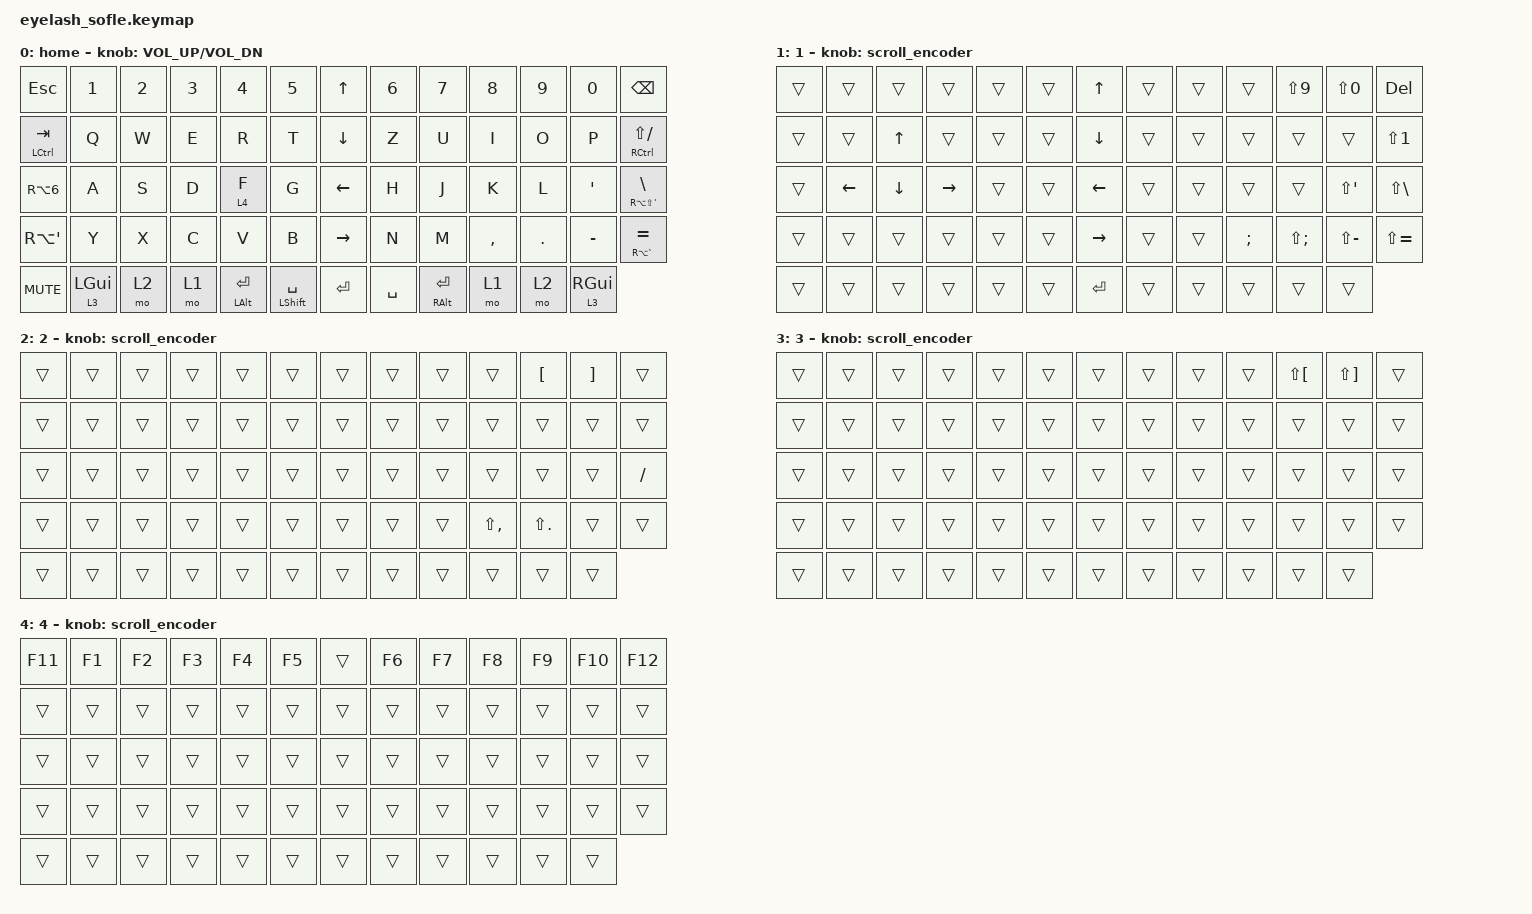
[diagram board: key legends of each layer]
#define ZMK_POINTING_DEFAULT_MOVE_VAL 1200  // 600
#define ZMK_POINTING_DEFAULT_SCRL_VAL 25   // 10

#include <input/processors.dtsi>
#include <zephyr/dt-bindings/input/input-event-codes.h>
#include <behaviors.dtsi>
#include <dt-bindings/zmk/bt.h>
#include <dt-bindings/zmk/keys.h>
#include <dt-bindings/zmk/outputs.h>
#include <dt-bindings/zmk/pointing.h>
#include <dt-bindings/zmk/rgb.h>

&mmv_input_listener { input-processors = <&zip_xy_scaler 2 1>; };

&msc_input_listener { input-processors = <&zip_scroll_scaler 2 1>; };

&msc {
    acceleration-exponent = <1>;      // 0
    time-to-max-speed-ms = <100>;       // 300
    delay-ms = <0>;                   // 0
};

&mmv {
    time-to-max-speed-ms = <500>;
    acceleration-exponent = <1>;
    trigger-period-ms = <16>;
};

&soft_off { hold-time-ms = <2000>; };

/ {
    scroll_encoder: scroll_encoder {
        compatible = "zmk,behavior-sensor-rotate";
        #sensor-binding-cells = <0>;
        bindings = <&msc SCRL_DOWN>, <&msc SCRL_UP>;

        tap-ms = <100>;
    };
    
    behaviors {
    };

    combos {
        compatible = "zmk,combos";

        softoff {
            bindings = <&soft_off>;
            key-positions = <14 28 40>;
        };
    };

    keymap {
        compatible = "zmk,keymap";

        layer0 {
            bindings = <
&kp ESC           &kp N1     &kp N2        &kp N3        &kp N4          &kp N5     &kp UP_ARROW     &kp N6     &kp N7          &kp N8     &kp N9           &kp N0      &kp BACKSPACE
&mt LCTRL TAB     &kp Q      &kp W         &kp E         &kp R           &kp T      &kp DOWN_ARROW   &kp Z      &kp U           &kp I      &kp O            &kp P       &mt RCTRL LS(FSLH)
&kp RA(N6)    &kp A      &kp S         &kp D         &lt 4 F           &kp G      &kp LEFT_ARROW   &kp H      &kp J           &kp K      &kp L            &kp APOS    &mt RA(LS(APOS)) BSLH
&kp RA(APOS)     &kp Y      &kp X         &kp C         &kp V           &kp B      &kp RIGHT_ARROW  &kp N      &kp M           &kp COMMA  &kp DOT          &kp MINUS   &mt RA(GRAVE) EQUAL
&kp C_MUTE  &lt 3 LEFT_GUI   &mo 2  &mo 1  &mt LALT ENTER  &mt LSHFT SPACE          &kp ENTER        &kp SPACE  &mt RALT ENTER  &mo 1      &mo 2            &lt 3 RIGHT_GUI
            >;

            sensor-bindings = <&inc_dec_kp C_VOLUME_UP C_VOL_DN>;
            display-name = "home";
        };

        layer1 {
            bindings = <
&trans      &trans     &trans     &trans       &trans      &trans     &kp UP       &trans     &trans    &trans      &kp LS(N9)     &kp LS(N0)     &kp DEL
&trans      &trans     &kp UP     &trans       &trans      &trans     &kp DOWN     &trans     &trans     &trans      &trans         &trans         &kp LS(1)
&trans      &kp LEFT   &kp DOWN   &kp RIGHT    &trans      &trans     &kp LEFT     &trans     &trans     &trans      &trans         &kp LS(APOS)   &kp LS(BSLH)
&trans      &trans     &trans     &trans       &trans      &trans     &kp RIGHT    &trans     &trans     &kp SEMI    &kp LS(SEMI)   &kp LS(MINUS)     &kp LS(EQUAL)
&trans      &trans     &trans     &trans       &trans      &trans     &kp ENTER    &trans     &trans     &trans      &trans      &trans
            >;

            display-name = "1";
            sensor-bindings = <&scroll_encoder>;
        };

        layer2 {
            bindings = <
&trans  &trans  &trans  &trans  &trans  &trans    &trans  &trans  &trans  &trans  &kp LBKT  &kp RBKT   &trans
&trans  &trans  &trans  &trans  &trans  &trans    &trans  &trans  &trans  &trans  &trans  &trans  &trans
&trans  &trans  &trans  &trans  &trans  &trans    &trans  &trans  &trans  &trans  &trans  &trans  &kp FSLH
&trans  &trans  &trans  &trans  &trans  &trans    &trans  &trans  &trans  &kp LS(COMMA)  &kp LS(PERIOD)  &trans  &trans
&trans  &trans  &trans  &trans  &trans  &trans    &trans  &trans  &trans  &trans  &trans  &trans
            >;

            display-name = "2";
            sensor-bindings = <&scroll_encoder>;
        };

        layer3 {
            bindings = <
&trans  &trans  &trans  &trans  &trans  &trans    &trans  &trans  &trans  &trans  &kp LS(LBKT)  &kp LS(RBKT)  &trans
&trans  &trans  &trans  &trans  &trans  &trans    &trans  &trans  &trans  &trans  &trans  &trans  &trans
&trans  &trans  &trans  &trans  &trans  &trans    &trans  &trans  &trans  &trans  &trans  &trans  &trans
&trans  &trans  &trans  &trans  &trans  &trans    &trans  &trans  &trans  &trans  &trans  &trans  &trans
&trans  &trans  &trans  &trans  &trans  &trans    &trans  &trans  &trans  &trans  &trans  &trans
            >;

            display-name = "3";
            sensor-bindings = <&scroll_encoder>;
        };

        layer4 {
            bindings = <
&kp F11 &kp F1  &kp F2  &kp F3  &kp F4  &kp F5    &trans  &kp F6  &kp F7  &kp F8  &kp F9  &kp F10 &kp F12
&trans  &trans  &trans  &trans  &trans  &trans    &trans  &trans  &trans  &trans  &trans  &trans  &trans
&trans  &trans  &trans  &trans  &trans  &trans    &trans  &trans  &trans  &trans  &trans  &trans  &trans
&trans  &trans  &trans  &trans  &trans  &trans    &trans  &trans  &trans  &trans  &trans  &trans  &trans
&trans  &trans  &trans  &trans  &trans  &trans    &trans  &trans  &trans  &trans  &trans  &trans
            >;
         display-name = "4";
            sensor-bindings = <&scroll_encoder>;
        };
    };
};
